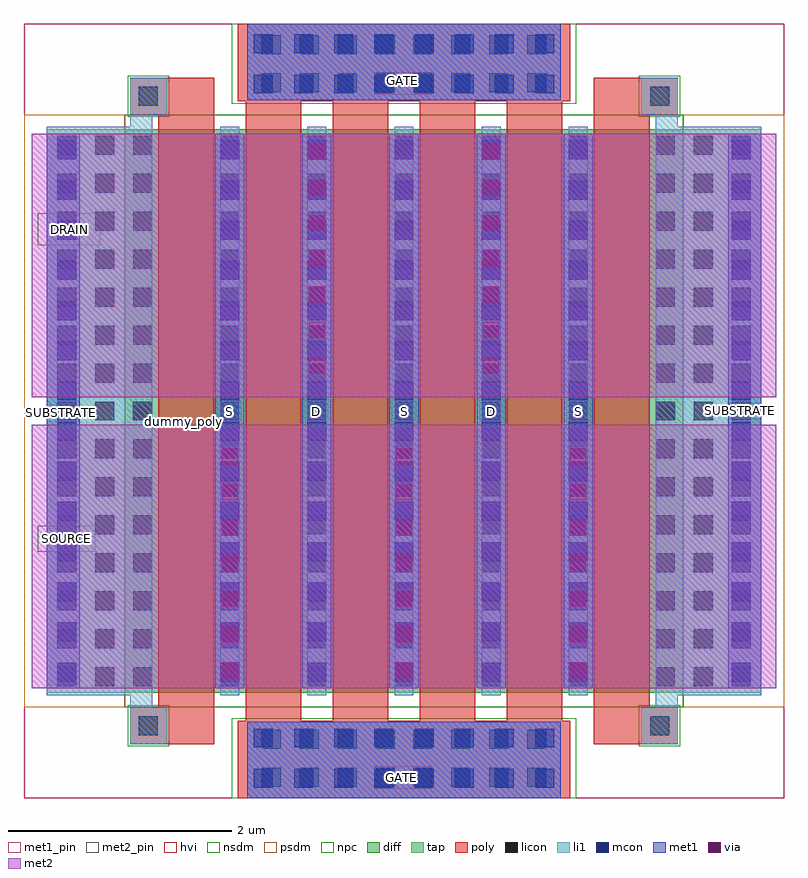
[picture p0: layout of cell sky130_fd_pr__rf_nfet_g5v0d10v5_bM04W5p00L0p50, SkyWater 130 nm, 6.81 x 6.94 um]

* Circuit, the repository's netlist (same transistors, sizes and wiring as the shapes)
* Copyright 2020 The SkyWater PDK Authors
*
* Licensed under the Apache License, Version 2.0 (the "License");
* you may not use this file except in compliance with the License.
* You may obtain a copy of the License at
*
*     https://www.apache.org/licenses/LICENSE-2.0
*
* Unless required by applicable law or agreed to in writing, software
* distributed under the License is distributed on an "AS IS" BASIS,
* WITHOUT WARRANTIES OR CONDITIONS OF ANY KIND, either express or implied.
* See the License for the specific language governing permissions and
* limitations under the License.
*
* SPDX-License-Identifier: Apache-2.0


.subckt sky130_fd_pr__rf_nfet_g5v0d10v5_bM04W5p00L0p50 DRAIN GATE SOURCE SUBSTRATE
X0 SUBSTRATE SUBSTRATE SOURCE SUBSTRATE sky130_fd_pr__nfet_g5v0d10v5 w=5.05e+06u l=500000u
X1 DRAIN GATE SOURCE SUBSTRATE sky130_fd_pr__nfet_g5v0d10v5 w=5.05e+06u l=500000u
X2 DRAIN GATE SOURCE SUBSTRATE sky130_fd_pr__nfet_g5v0d10v5 w=5.05e+06u l=500000u
X3 SOURCE SUBSTRATE SUBSTRATE SUBSTRATE sky130_fd_pr__nfet_g5v0d10v5 w=5.05e+06u l=500000u
X4 SOURCE GATE DRAIN SUBSTRATE sky130_fd_pr__nfet_g5v0d10v5 w=5.05e+06u l=500000u
X5 SOURCE GATE DRAIN SUBSTRATE sky130_fd_pr__nfet_g5v0d10v5 w=5.05e+06u l=500000u
.ends

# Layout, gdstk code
import gdstk
lib = gdstk.Library(unit=1e-6, precision=1e-09)
def R(c, l, rs):  # rectangles x0, y0, x1, y1
    for r in rs: c.add(gdstk.rectangle(r[:2], r[2:], *l))
def A(c, l, x, y, w, h, nx, ny, dx, dy):  # array of equal rectangles
    R(c, l, [(x+i*dx, y+j*dy, x+i*dx+w, y+j*dy+h) for i in range(nx) for j in range(ny)])
diff = (65, 20)
tap = (65, 44)
poly = (66, 20)
licon = (66, 44)
li1 = (67, 20)
mcon = (67, 44)
met1_pin = (68, 16)
met1 = (68, 20)
via = (68, 44)
met2_pin = (69, 16)
met2 = (69, 20)
hvi = (75, 20)
nsdm = (93, 44)
psdm = (94, 20)
npc = (95, 20)

sky130_fd_pr__rf_nfet_g5 = lib.new_cell('sky130_fd_pr__rf_nfet_g5v0d10v5_bM04W5p00L0p50')
R(sky130_fd_pr__rf_nfet_g5, diff, [(0.905,0.945,5.905,5.995)])
R(sky130_fd_pr__rf_nfet_g5, tap, [(0.205,0.945,0.905,5.995), (5.905,0.945,6.605,5.995)])
A(sky130_fd_pr__rf_nfet_g5, poly, 1.985, 0.695, 0.5, 5.55, 4, 1, 0.78, 0)
R(sky130_fd_pr__rf_nfet_g5, poly, [(1.915,0,4.895,0.695), (0.95,0.485,1.28,0.815), (1.205,0.485,1.705,6.455), (5.105,0.485,5.605,6.455), (5.53,0.485,5.86,0.815), (0.95,6.125,1.28,6.455), (5.53,6.125,5.86,6.455), (1.915,6.245,4.895,6.94)])
A(sky130_fd_pr__rf_nfet_g5, licon, 2.13, 0.105, 0.17, 0.17, 8, 2, 0.34, 0.34)
A(sky130_fd_pr__rf_nfet_g5, licon, 0.3, 1.005, 0.17, 0.17, 3, 15, 0.34, 0.34)
A(sky130_fd_pr__rf_nfet_g5, licon, 1.76, 1.005, 0.17, 0.17, 6, 15, 0.78, 0.34)
A(sky130_fd_pr__rf_nfet_g5, licon, 6, 1.005, 0.17, 0.17, 1, 15, 0, 0.34)
A(sky130_fd_pr__rf_nfet_g5, licon, 6.34, 1.005, 0.17, 0.17, 1, 15, 0, 0.34)
A(sky130_fd_pr__rf_nfet_g5, licon, 2.13, 6.325, 0.17, 0.17, 8, 2, 0.34, 0.34)
R(sky130_fd_pr__rf_nfet_g5, licon, [(1.03,0.565,1.2,0.735), (5.61,0.565,5.78,0.735), (1.03,6.205,1.2,6.375), (5.61,6.205,5.78,6.375)])
A(sky130_fd_pr__rf_nfet_g5, li1, 1.76, 0.925, 0.17, 5.09, 5, 1, 0.78, 0)
A(sky130_fd_pr__rf_nfet_g5, li1, 1.76, 2.125, 0.17, 2.69, 5, 1, 0.78, 0)
R(sky130_fd_pr__rf_nfet_g5, li1, [(2,0,4.81,0.685), (0.95,0.485,1.28,0.815), (5.53,0.485,5.86,0.815), (0.95,0.815,1.15,0.925), (5.66,0.815,5.86,0.925), (0.205,0.925,1.15,6.015), (5.66,0.925,6.605,6.015), (0.95,6.015,1.15,6.125), (5.66,6.015,5.86,6.125), (0.95,6.125,1.28,6.455), (5.53,6.125,5.86,6.455), (2,6.255,4.81,6.94)])
A(sky130_fd_pr__rf_nfet_g5, mcon, 2.06, 0.095, 0.17, 0.17, 8, 2, 0.36, 0.36)
A(sky130_fd_pr__rf_nfet_g5, mcon, 0.3, 1.045, 0.17, 0.17, 1, 14, 0, 0.36)
A(sky130_fd_pr__rf_nfet_g5, mcon, 1.76, 1.045, 0.17, 0.17, 5, 14, 0.78, 0.36)
A(sky130_fd_pr__rf_nfet_g5, mcon, 6.34, 1.045, 0.17, 0.17, 1, 14, 0, 0.36)
A(sky130_fd_pr__rf_nfet_g5, mcon, 2.06, 6.315, 0.17, 0.17, 8, 2, 0.36, 0.36)
R(sky130_fd_pr__rf_nfet_g5, met1_pin, [(3.14,0.085,3.645,0.285), (0.205,3.375,0.5,3.525), (6.31,3.395,6.605,3.545), (3.14,6.305,3.645,6.505)])
A(sky130_fd_pr__rf_nfet_g5, met1, 1.715, 0.985, 0.26, 2.24, 3, 1, 1.56, 0)
A(sky130_fd_pr__rf_nfet_g5, met1, 1.715, 0.985, 0.26, 4.97, 5, 1, 0.78, 0)
R(sky130_fd_pr__rf_nfet_g5, met1, [(2,0,4.81,0.685), (0.205,0.985,0.5,5.955), (6.31,0.985,6.605,5.955), (2.495,3.715,2.755,5.955), (4.055,3.715,4.315,5.955), (2,6.255,4.81,6.94)])
A(sky130_fd_pr__rf_nfet_g5, via, 1.77, 1.07, 0.15, 0.15, 3, 7, 1.56, 0.32)
A(sky130_fd_pr__rf_nfet_g5, via, 2.55, 3.8, 0.15, 0.15, 1, 7, 0, 0.32)
A(sky130_fd_pr__rf_nfet_g5, via, 4.11, 3.8, 0.15, 0.15, 1, 7, 0, 0.32)
R(sky130_fd_pr__rf_nfet_g5, met2_pin, [(0.125,2.21,0.64,2.44), (0.125,4.955,0.685,5.24)])
A(sky130_fd_pr__rf_nfet_g5, met2, 1.715, 0.985, 0.26, 2.24, 3, 1, 1.56, 0)
R(sky130_fd_pr__rf_nfet_g5, met2, [(0.07,0.985,6.74,3.345), (0.07,3.595,6.74,5.955), (2.495,3.715,2.755,5.955), (4.055,3.715,4.315,5.955)])
R(sky130_fd_pr__rf_nfet_g5, hvi, [(0,0,6.81,6.94)])
R(sky130_fd_pr__rf_nfet_g5, nsdm, [(0.905,0.815,5.905,6.125)])
R(sky130_fd_pr__rf_nfet_g5, psdm, [(0,0.815,0.905,6.125), (5.905,0.815,6.81,6.125)])
R(sky130_fd_pr__rf_nfet_g5, npc, [(1.86,0,4.95,0.715), (0.93,0.465,1.3,0.835), (5.51,0.465,5.88,0.835), (0.93,6.105,1.3,6.475), (5.51,6.105,5.88,6.475), (1.86,6.225,4.95,6.94)])
sky130_fd_pr__rf_nfet_g5.add(gdstk.Label('GATE', (3.395,6.43), layer=68, texttype=5))
sky130_fd_pr__rf_nfet_g5.add(gdstk.Label('GATE', (3.385,0.185), layer=68, texttype=5))
sky130_fd_pr__rf_nfet_g5.add(gdstk.Label('S', (4.965,3.47), layer=83, texttype=44))
sky130_fd_pr__rf_nfet_g5.add(gdstk.Label('D', (4.185,3.47), layer=83, texttype=44))
sky130_fd_pr__rf_nfet_g5.add(gdstk.Label('S', (4.185,3.47), layer=83, texttype=44))
sky130_fd_pr__rf_nfet_g5.add(gdstk.Label('S', (3.405,3.47), layer=83, texttype=44))
sky130_fd_pr__rf_nfet_g5.add(gdstk.Label('S', (3.405,3.47), layer=83, texttype=44))
sky130_fd_pr__rf_nfet_g5.add(gdstk.Label('D', (2.625,3.47), layer=83, texttype=44))
sky130_fd_pr__rf_nfet_g5.add(gdstk.Label('S', (2.625,3.47), layer=83, texttype=44))
sky130_fd_pr__rf_nfet_g5.add(gdstk.Label('S', (1.845,3.47), layer=83, texttype=44))
sky130_fd_pr__rf_nfet_g5.add(gdstk.Label('S', (1.845,3.47), layer=83, texttype=44))
sky130_fd_pr__rf_nfet_g5.add(gdstk.Label('dummy_poly', (5.34,3.39), layer=83, texttype=44))
sky130_fd_pr__rf_nfet_g5.add(gdstk.Label('dummy_poly', (1.43,3.38), layer=83, texttype=44))
sky130_fd_pr__rf_nfet_g5.add(gdstk.Label('model_use_only', (2.215,3.54), layer=66, texttype=83))
sky130_fd_pr__rf_nfet_g5.add(gdstk.Label('model_use_only', (3.77,3.555), layer=66, texttype=83))
sky130_fd_pr__rf_nfet_g5.add(gdstk.Label('model_use_only', (2.96,3.555), layer=66, texttype=83))
sky130_fd_pr__rf_nfet_g5.add(gdstk.Label('model_use_only', (4.55,3.555), layer=66, texttype=83))
sky130_fd_pr__rf_nfet_g5.add(gdstk.Label('model_use_only', (1.435,3.54), layer=66, texttype=83))
sky130_fd_pr__rf_nfet_g5.add(gdstk.Label('model_use_only', (5.31,3.555), layer=66, texttype=83))
sky130_fd_pr__rf_nfet_g5.add(gdstk.Label('SUBSTRATE', (6.42,3.475), layer=68, texttype=16))
sky130_fd_pr__rf_nfet_g5.add(gdstk.Label('SUBSTRATE', (0.335,3.455), layer=68, texttype=16))
sky130_fd_pr__rf_nfet_g5.add(gdstk.Label('DRAIN', (0.41,5.095), layer=69, texttype=5))
sky130_fd_pr__rf_nfet_g5.add(gdstk.Label('SOURCE', (0.385,2.325), layer=69, texttype=5))

lib.write_gds('sky130_fd_pr__rf_nfet_g5v0d10v5_bM04W5p00L0p50.gds')
